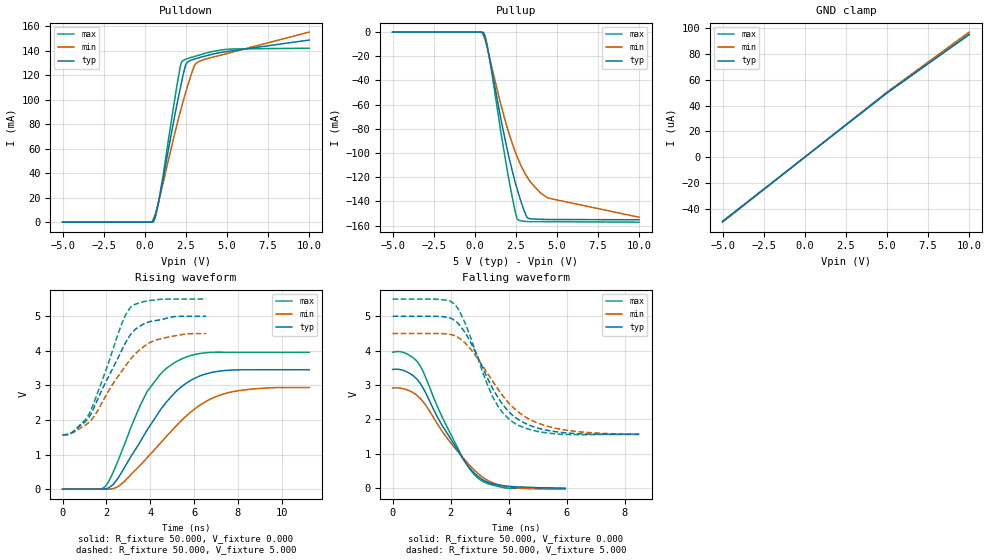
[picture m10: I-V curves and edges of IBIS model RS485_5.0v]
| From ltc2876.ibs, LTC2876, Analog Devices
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[Model]   RS485_5.0v
Model_type I/O
Vinl=2.300E+00
Vinh=2.700E+00
Vref=2.500E+00
Rref=2.700E+01
Cref=1.000E-10
Vmeas=2.500E+00
C_comp   1.970E-12   1.870E-12   2.050E-12
[Model Spec]
Vmeas 2.500  2.2500 2.750
Vref  2.500  2.2500 2.750
[Voltage Range]   5.000E+00   4.500E+00   5.500E+00
[POWER Clamp Reference]   5.000E+00   4.500E+00   5.500E+00
[GND Clamp Reference]   0.000E+00   0.000E+00   0.000E+00
[Pullup Reference]   5.000E+00   4.500E+00   5.500E+00
[Pulldown Reference]   0.000E+00   0.000E+00   0.000E+00
[Temperature Range]   25   125   -40
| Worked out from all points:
|   slope of the pulldown table from 0 to 0.75 V, typ, clamps not added: 67.7 ohm
|   slope of the pullup table from 0 to 0.75 V, typ, clamps not added: 62.6 ohm
|   rising waveform, R_fixture 50.000, V_fixture 0.000: 20-80 % time 2.2ns typ, 2.71ns min, 1.76ns max; typ from 0 V to 3.45 V
|   falling waveform, R_fixture 50.000, V_fixture 0.000: 20-80 % time 1.42ns typ, 1.56ns min, 1.32ns max; typ from 3.45 V to 0.001 V
|   rising waveform, R_fixture 50.000, V_fixture 5.000: 20-80 % time 1.59ns typ, 1.82ns min, 1.32ns max; typ from 1.57 V to 5 V
|   falling waveform, R_fixture 50.000, V_fixture 5.000: 20-80 % time 1.34ns typ, 1.62ns min, 1.12ns max; typ from 5 V to 1.57 V
[GND Clamp]
-5V       -50.04uA   -50.53uA   -49.78uA
0V        0A         0A         0A
5V        50.04uA    50.53uA    49.78uA
10V       95.16uA    97.16uA    95.63uA
[POWER Clamp]
-5V       0A         0A         0A
0V        0A         0A         0A
10V       0A         0A         0A
[Pullup]
-5.02V    44.51uA    36.22uA    49.65uA
320mV     39.02uA    -1.678uA   47.91uA
540mV     -1.671mA   -3.182mA   -684.6uA
680mV     -7.835mA   -9.132mA   -6.508mA
920mV     -23.52mA   -22.55mA   -24.06mA
1.6V      -72.86mA   -60.74mA   -84.03mA
2.1V      -104.8mA   -84.68mA   -124mA
2.5V      -126.2mA   -100.4mA   -150.9mA
2.62V     -131.8mA   -104.4mA   -155.2mA
3.22V     -153.7mA   -120.6mA   -156.7mA
4.46V     -155mA     -137.3mA   -156.8mA
10.02V    -155.2mA   -153.2mA   -157.2mA
[Pulldown]
-5V       0A         0A         0A
320mV     0A         0A         0A
540mV     1.616mA    3.085mA    718.4uA
700mV     8.303mA    9.441mA    7.355mA
920mV     21.88mA    21.01mA    22.7mA
2.14V     108.1mA    89.02mA    125.7mA
2.34V     120.5mA    98.95mA    131.9mA
2.58V     130.2mA    109.9mA    133.4mA
3.02V     133mA      127.7mA    135.1mA
3.26V     134mA      130.8mA    136.1mA
5.34V     139.8mA    138.7mA    141.3mA
10V       148.6mA    155mA      141.9mA
[Rising Waveform]
R_fixture = 50.000
V_fixture = 0.000
V_fixture_min = 0.000
V_fixture_max = 0.000
|  time   V(typ)   V(min)   V(max)
0s        -172.1pV   -172pV     -306.1pV
1.95ns    8.794mV    -1.134mV   82.38mV
2.55ns    335.3mV    80.62mV    852.4mV
3.25ns    1.075V     506mV      1.99V
3.85ns    1.705V     902mV      2.813V
4.5ns     2.324V     1.356V     3.35V
5.15ns    2.809V     1.806V     3.676V
6.25ns    3.27V      2.421V     3.921V
7.5ns     3.435V     2.78V      3.957V
11.25ns   3.454V     2.938V     3.955V
[Falling Waveform]
R_fixture = 50.000
V_fixture = 0.000
V_fixture_min = 0.000
V_fixture_max = 0.000
|  time   V(typ)   V(min)   V(max)
0s        3.454V     2.916V     3.955V
450ps     3.399V     2.877V     3.922V
900ps     3.11V      2.657V     3.623V
1.65ns    1.911V     1.732V     2.177V
2.3ns     1.022V     1.018V     1.079V
2.65ns    597.2mV    673.2mV    574.4mV
2.95ns    343.1mV    425.2mV    293mV
3.35ns    156.1mV    199.7mV    119.1mV
3.9ns     68.73mV    51.93mV    10.26mV
5.95ns    586.7uV    -23.79mV   -306.1pV
[Rising Waveform]
R_fixture = 50.000
V_fixture = 5.000
V_fixture_min = 4.500
V_fixture_max = 5.500
|  time   V(typ)   V(min)   V(max)
0s        1.567V     1.575V     1.57V
450ps     1.647V     1.627V     1.642V
1.2ns     2.074V     1.93V      2.162V
1.95ns    3.074V     2.676V     3.391V
2.7ns     4.017V     3.413V     4.787V
3.1ns     4.469V     3.758V     5.257V
3.6ns     4.741V     4.073V     5.404V
4.2ns     4.871V     4.299V     5.469V
5.15ns    4.993V     4.436V     5.497V
6.55ns    4.997V     4.498V     5.497V
[Falling Waveform]
R_fixture = 50.000
V_fixture = 5.000
V_fixture_min = 4.500
V_fixture_max = 5.500
|  time   V(typ)   V(min)   V(max)
0s        4.997V     4.498V     5.497V
1.75ns    4.984V     4.492V     5.475V
2.15ns    4.87V      4.429V     5.333V
2.6ns     4.378V     4.133V     4.584V
3.45ns    2.9V       3.11V      2.658V
3.8ns     2.43V      2.686V     2.193V
4.25ns    2.047V     2.277V     1.87V
4.85ns    1.791V     1.953V     1.681V
5.65ns    1.642V     1.739V     1.581V
8.5ns     1.567V     1.575V     1.57V
[Ramp]
dV/dt_r   2.0720E+00/2.1956E-09   1.7637E+00/2.7123E-09   2.3738E+00/1.7232E-09
dV/dt_f   2.0570E+00/1.3313E-09   1.7520E+00/1.6174E-09   2.3550E+00/1.1146E-09
R_load = 50
